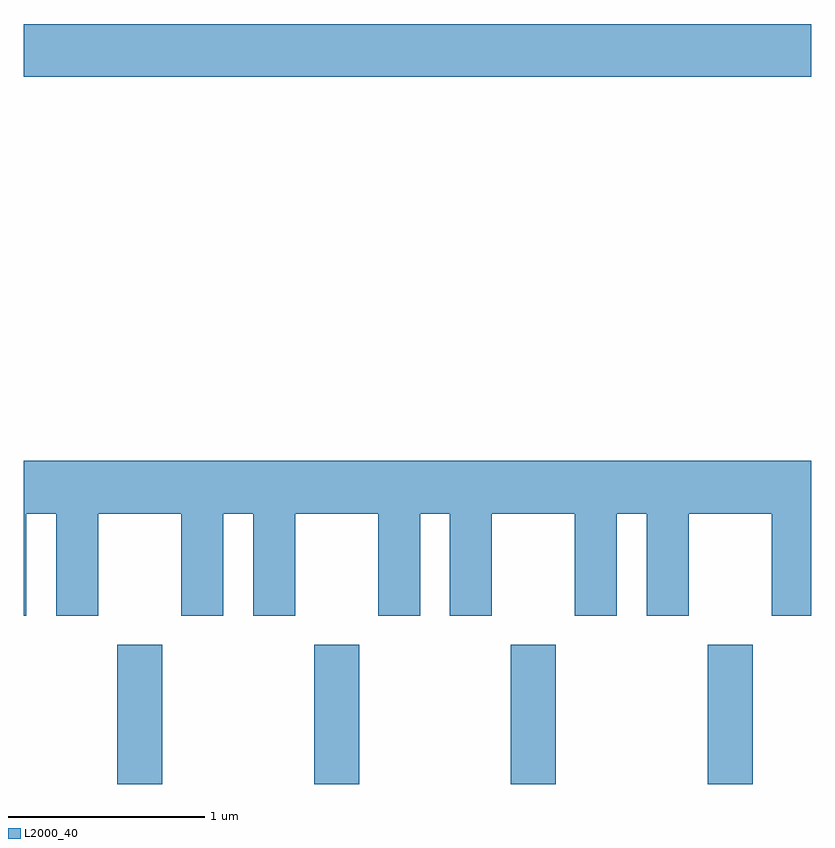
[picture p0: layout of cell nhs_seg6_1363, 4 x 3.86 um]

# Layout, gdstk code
import gdstk
lib = gdstk.Library(unit=1e-6, precision=1e-09)
def R(c, l, rs):  # rectangles x0, y0, x1, y1
    for r in rs: c.add(gdstk.rectangle(r[:2], r[2:], *l))
def A(c, l, x, y, w, h, nx, ny, dx, dy):  # array of equal rectangles
    R(c, l, [(x+i*dx, y+j*dy, x+i*dx+w, y+j*dy+h) for i in range(nx) for j in range(ny)])
def P(c, l, *ps):  # polygons
    for p in ps: c.add(gdstk.Polygon(p, *l))
L2000_40 = (2000, 40)

nhs_seg6_1363 = lib.new_cell('nhs_seg6_1363')
A(nhs_seg6_1363, L2000_40, 226.086, 1604.162, 0.228, 0.707, 4, 1, 1, 0)
R(nhs_seg6_1363, L2000_40, [(225.611,1607.756,229.611,1608.024)])
P(nhs_seg6_1363, L2000_40, [(225.624,1605.536),(225.776,1605.536),(225.776,1605.016),(225.989,1605.016),(225.989,1605.536),(226.411,1605.536),(226.411,1605.016),(226.624,1605.016),(226.624,1605.536),(226.776,1605.536),(226.776,1605.016),(226.989,1605.016),(226.989,1605.536),(227.411,1605.536),(227.411,1605.016),(227.624,1605.016),(227.624,1605.536),(227.776,1605.536),(227.776,1605.016),(227.989,1605.016),(227.989,1605.536),(228.411,1605.536),(228.411,1605.016),(228.624,1605.016),(228.624,1605.536),(228.776,1605.536),(228.776,1605.016),(228.989,1605.016),(228.989,1605.536),(229.411,1605.536),(229.411,1605.016),(229.611,1605.016),(229.611,1605.804),(225.611,1605.804),(225.611,1605.016),(225.624,1605.016)])

lib.write_gds('nhs_seg6_1363.gds')
